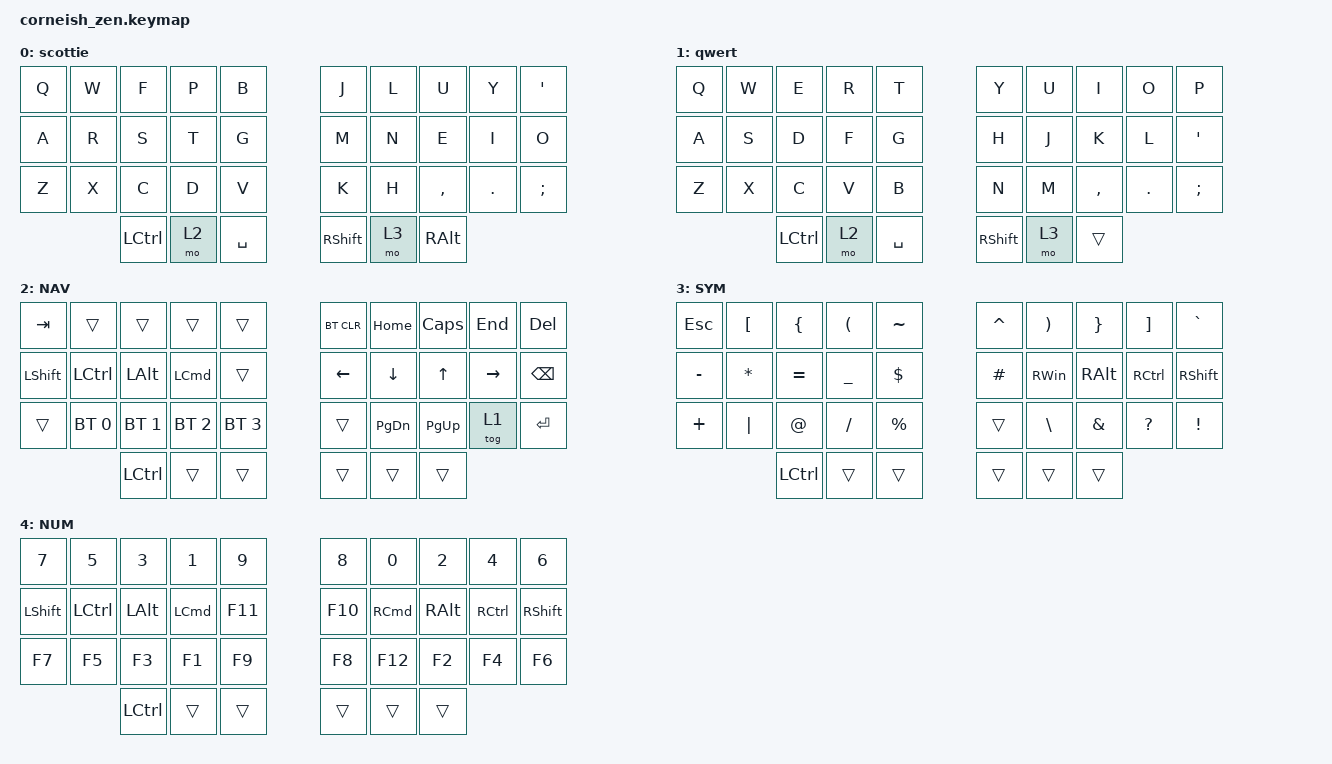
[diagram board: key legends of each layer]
#include <behaviors.dtsi>
#include <dt-bindings/zmk/keys.h>
#include <dt-bindings/zmk/bt.h>

/* Layers */
#define COL_L 0
#define DEF_L 1
#define NAV_L 2
#define SYM_L 3 
#define NUM_L 4


/ {
  chosen {
    //zmk,matrix_transform = &default_transform;
    zmk,matrix_transform = &five_column_transform;
  };
};

/ {
   conditional_layers {
      compatible = "zmk,conditional-layers";
      tri_layer {
          if-layers =<2 3>;
          then-layer = <4>;
        };
    };
};

/ {
  keymap {
    compatible = "zmk,keymap";
    col_layer {
      label = "scottie";
      bindings = <
        // ╭─────────────┬─────────────┬─────────────┬─────────────┬─────────────╮   ╭─────────────┬─────────────┬─────────────┬─────────────┬─────────────╮
             &kp Q         &kp W         &kp F         &kp P         &kp B             &kp J         &kp L         &kp U         &kp Y         &kp SQT
        // ├─────────────┼─────────────┼─────────────┼─────────────┼─────────────┤   ├─────────────┼─────────────┼─────────────┼─────────────┼─────────────┤
             &kp A         &kp R         &kp S         &kp T         &kp G             &kp M         &kp N         &kp E         &kp I         &kp O
        // ├─────────────┼─────────────┼─────────────┼─────────────┼─────────────┤   ├─────────────┼─────────────┼─────────────┼─────────────┼─────────────┤
             &kp Z         &kp X         &kp C         &kp D         &kp V             &kp K         &kp H         &kp COMMA     &kp DOT       &kp SEMI
        // ╰─────────────┴─────────────┴─────────────┼─────────────┼─────────────┤   ├─────────────┼─────────────┼─────────────┴─────────────┴─────────────╯
                                         &kp LCTRL     &mo 2         &kp SPACE         &kp RSHIFT    &mo 3         &kp RALT 
        //                                           ╰─────────────┴─────────────╯   ╰─────────────┴─────────────╯
      >;
    };
    base_layer {
      label = "qwert";
      bindings = <
        // ╭─────────────┬─────────────┬─────────────┬─────────────┬─────────────╮   ╭─────────────┬─────────────┬─────────────┬─────────────┬─────────────╮
             &kp Q         &kp W         &kp E         &kp R         &kp T             &kp Y         &kp U         &kp I         &kp O         &kp P
        // ├─────────────┼─────────────┼─────────────┼─────────────┼─────────────┤   ├─────────────┼─────────────┼─────────────┼─────────────┼─────────────┤
             &kp A         &kp S         &kp D         &kp F         &kp G             &kp H         &kp J         &kp K         &kp L         &kp SQT
        // ├─────────────┼─────────────┼─────────────┼─────────────┼─────────────┤   ├─────────────┼─────────────┼─────────────┼─────────────┼─────────────┤
             &kp Z         &kp X         &kp C         &kp V         &kp B             &kp N         &kp M         &kp COMMA     &kp DOT       &kp SEMI
        // ╰─────────────┴─────────────┴─────────────┼─────────────┼─────────────┤   ├─────────────┼─────────────┼─────────────┴─────────────┴─────────────╯
                                         &kp LCTRL     &mo 2         &kp SPACE         &kp RSHIFT    &mo 3         &trans 
        //                                           ╰─────────────┴─────────────╯   ╰─────────────┴─────────────╯
      >;
    };
    nav_layer {
      label = "NAV";
      bindings = <
        // ╭─────────────┬─────────────┬─────────────┬─────────────┬─────────────╮   ╭─────────────┬─────────────┬─────────────┬─────────────┬─────────────╮
             &kp TAB       &trans        &trans        &trans        &trans            &bt BT_CLR    &kp HOME      &kp CAPS      &kp END       &kp DEL  
        // ├─────────────┼─────────────┼─────────────┼─────────────┼─────────────┤   ├─────────────┼─────────────┼─────────────┼─────────────┼─────────────┤
             &kp LSHFT     &kp LCTRL     &kp LALT      &kp LCMD      &trans            &kp LEFT      &kp DOWN      &kp UP        &kp RIGHT     &kp BSPC
        // ├─────────────┼─────────────┼─────────────┼─────────────┼─────────────┤   ├─────────────┼─────────────┼─────────────┼─────────────┼─────────────┤
             &trans        &bt BT_SEL 0  &bt BT_SEL 1  &bt BT_SEL 2  &bt BT_SEL 3      &trans        &kp PG_DN     &kp PG_UP     &tog 1        &kp ENTER
        // ╰─────────────┴─────────────┴─────────────┼─────────────┼─────────────┤   ├─────────────┼─────────────┼─────────────┴─────────────┴─────────────╯
                                         &kp LCTRL     &trans        &trans            &trans        &trans        &trans 
        //                                           ╰─────────────┴─────────────╯   ╰─────────────┴─────────────╯
      >;
    };

 sym_layer {
      label = "SYM";
      bindings = <
        // ╭─────────────┬─────────────┬─────────────┬─────────────┬─────────────╮   ╭─────────────┬─────────────┬─────────────┬─────────────┬─────────────╮
             &kp ESC       &kp LBKT      &kp LBRC      &kp LPAR      &kp TILDE         &kp CARET     &kp RPAR      &kp RBRC      &kp RBKT      &kp GRAVE
        // ├─────────────┼─────────────┼─────────────┼─────────────┼─────────────┤   ├─────────────┼─────────────┼─────────────┼─────────────┼─────────────┤
             &kp MINUS     &kp ASTRK     &kp EQUAL     &kp UNDER     &kp DOLLAR        &kp HASH      &kp RWIN      &kp RALT      &kp RCTRL     &kp RSHFT
        // ├─────────────┼─────────────┼─────────────┼─────────────┼─────────────┤   ├─────────────┼─────────────┼─────────────┼─────────────┼─────────────┤
             &kp PLUS      &kp PIPE      &kp AT        &kp SLASH     &kp PERCENT       &trans        &kp BSLH      &kp AMPS      &kp QMARK     &kp EXCL
        // ╰─────────────┴─────────────┴─────────────┼─────────────┼─────────────┤   ├─────────────┼─────────────┼─────────────┴─────────────┴─────────────╯
                                         &kp LCTRL     &trans        &trans            &trans        &trans        &trans      
        //                                           ╰─────────────┴─────────────╯   ╰─────────────┴─────────────╯
      >;
    };
    
  num_layer {
      label = "NUM";
      bindings = <
        // ╭─────────────┬─────────────┬─────────────┬─────────────┬─────────────╮   ╭─────────────┬─────────────┬─────────────┬─────────────┬─────────────╮
             &kp N7        &kp N5        &kp N3        &kp N1        &kp N9            &kp N8        &kp N0        &kp N2        &kp N4        &kp N6
        // ├─────────────┼─────────────┼─────────────┼─────────────┼─────────────┤   ├─────────────┼─────────────┼─────────────┼─────────────┼─────────────┤
             &kp LSHIFT    &kp LCTRL     &kp LALT      &kp LCMD      &kp F11           &kp F10       &kp RCMD      &kp RALT      &kp RCTRL     &kp RSHIFT
        // ├─────────────┼─────────────┼─────────────┼─────────────┼─────────────┤   ├─────────────┼─────────────┼─────────────┼─────────────┼─────────────┤
             &kp F7        &kp F5        &kp F3        &kp F1        &kp F9            &kp F8        &kp F12       &kp F2        &kp F4        &kp F6
        // ╰─────────────┴─────────────┴─────────────┼─────────────┼─────────────┤   ├─────────────┼─────────────┼─────────────┴─────────────┴─────────────╯
                                         &kp LCTRL     &trans        &trans            &trans        &trans        &trans 
        //                                           ╰─────────────┴─────────────╯   ╰─────────────┴─────────────╯
      >;
    };
  };
};
